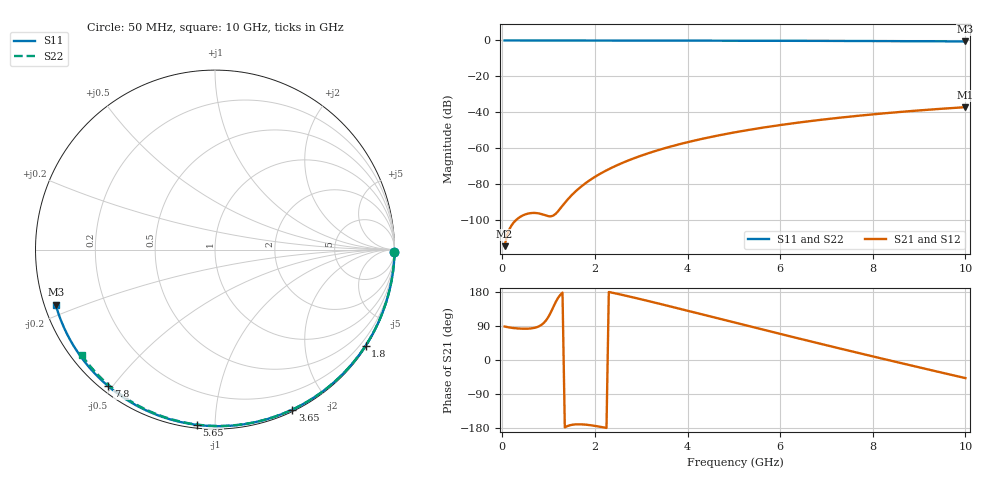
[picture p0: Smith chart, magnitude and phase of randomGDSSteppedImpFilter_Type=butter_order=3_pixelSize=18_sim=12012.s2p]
! freq	dB(S11)	phase(S11)	dB(S12)	phase(S12)
!  dB(S21)	phase(S21)	dB(S22)	phase(S22)
!S-par simulation data
#  GHz  S  DB  R 50
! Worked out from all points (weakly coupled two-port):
!   200 points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, 50 MHz to 10 GHz, reference 50 ohm
!   highest |S21| = -37.08 dB at 10 GHz (marker M1); lowest = -114.3 dB at 50 MHz (marker M2)
!   lowest |S11| = -0.5 dB at 10 GHz (marker M3), VSWR 32.04, Z = 1.6 - j8.41 ohm
!   |S11| at or under -10 dB: nowhere
!   |S22| runs from -0.5 to 0.0 dB; largest |S21 - S12| = 0
!   S11 on the Smith chart (normalised r, x): 50 MHz: open; 1.8 GHz: 0.03, -3.43; 3.65 GHz: 0.02, -1.59; 5.65 GHz: 0.02, -0.90; 7.8 GHz: 0.02, -0.49; 10 GHz: 0.03, -0.17
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0.05  -0.00 -0.9  -114.34 88.4  -114.34 88.4  -0.00 -0.8
0.45  -0.01 -8.3  -97.16 82.5  -97.16 82.5  -0.01 -7.4
0.9  -0.02 -16.4  -96.94 98.3  -96.94 98.3  -0.02 -14.7
1.75  -0.04 -31.6  -80.26 -170.1  -80.26 -170.1  -0.04 -28.2
1.8  -0.04 -32.5  -79.29 -170.6  -79.29 -170.6  -0.04 -29.0
1.95  -0.04 -35.2  -76.64 -172.9  -76.64 -172.9  -0.04 -31.4
2.1  -0.05 -37.8  -74.30 -175.8  -74.30 -175.8  -0.04 -33.8
2.3  -0.05 -41.3  -71.54 179.5  -71.54 179.5  -0.05 -36.9
2.5  -0.06 -44.7  -69.10 174.3  -69.10 174.3  -0.05 -40.0
2.9  -0.07 -51.6  -64.94 163.1  -64.94 163.1  -0.06 -46.1
3.4  -0.08 -60.0  -60.70 148.3  -60.70 148.3  -0.07 -53.7
3.65  -0.09 -64.2  -58.86 140.7  -58.86 140.7  -0.08 -57.4
4.3  -0.11 -74.8  -54.77 120.9  -54.77 120.9  -0.09 -66.9
5.05  -0.13 -86.7  -50.93 97.8  -50.93 97.8  -0.12 -77.6
5.65  -0.16 -96.0  -48.36 79.5  -48.36 79.5  -0.14 -85.9
6.15  -0.19 -103.6  -46.49 64.4  -46.49 64.4  -0.16 -92.6
6.7  -0.22 -111.8  -44.66 47.9  -44.66 47.9  -0.19 -99.9
7.25  -0.26 -119.9  -43.03 31.5  -43.03 31.5  -0.23 -107.1
7.8  -0.30 -128.0  -41.57 15.3  -41.57 15.3  -0.27 -114.1
8.35  -0.35 -136.1  -40.27 -0.7  -40.27 -0.7  -0.31 -121.0
9.2  -0.44 -148.7  -38.50 -25.1  -38.50 -25.1  -0.39 -131.7
10  -0.54 -160.9  -37.08 -47.8  -37.08 -47.8  -0.48 -141.6
